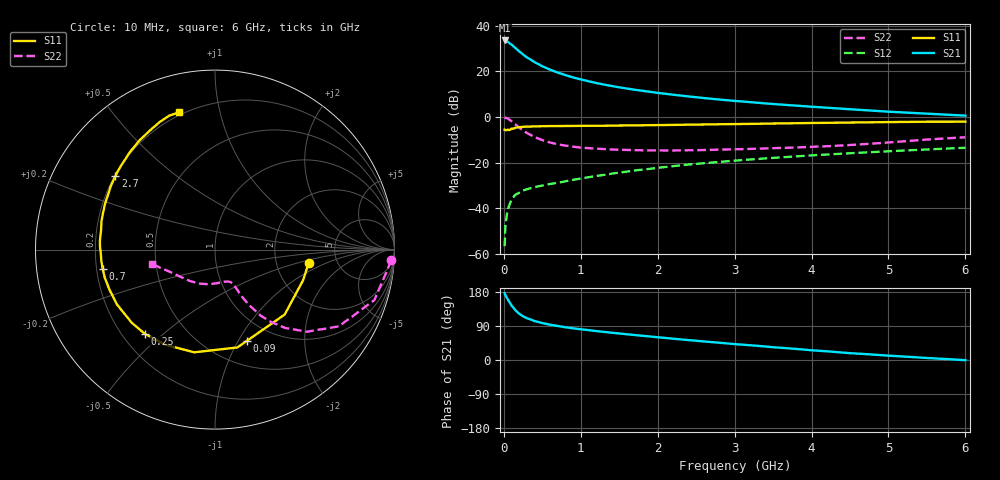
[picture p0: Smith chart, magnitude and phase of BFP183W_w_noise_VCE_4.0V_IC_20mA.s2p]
! Infineon Technologies  Discrete & RF Semiconductors
! BFP183W
! VCE =  4.0 V,  IC =  20 mA
! Common Emitter S-Parameters:  Jan 2017
# GHz  S  MA  R  50
!  f  S11  S21  S12  S22
! GHz  MAG  ANG  MAG  ANG  MAG  ANG  MAG  ANG
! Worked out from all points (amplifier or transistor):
!   77 points, 10 MHz to 6 GHz, reference 50 ohm
!   highest |S21| = 33.5 dB at 10 MHz (marker M1)
!   |S21| within 3 dB of that: start of sweep to 140.1 MHz
!   unconditionally stable (mu >= 1): 1.166 GHz to 3.666 GHz
!   at 130 MHz: K = 0.24, MSG = 32.8 dB, |S12| = -34.8 dB
!   at 2.2 GHz: K = 1.06, MAG = 14.1 dB, |S12| = -21.5 dB
!   at 6 GHz: K = 0.88, MSG = 7.0 dB, |S12| = -13.4 dB
!   lowest NFmin = 1.17 dB at 450 MHz
!   S11 on the Smith chart (normalised r, x): 10 MHz: 3.08, -0.63; 90 MHz: 0.76, -1.09; 250 MHz: 0.29, -0.44; 700 MHz: 0.22, -0.08; 2.7 GHz: 0.20, +0.32; 6 GHz: 0.19, +0.76
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0.01  0.5272 -8.1  47.18 176.5  0.0015 84.6  0.9827 -3.5
0.02  0.5197 -19.2  46.4 171.7  0.004 95.2  0.9652 -7.1
0.05  0.5307 -43.0  44.2 160.1  0.0092 73.7  0.9312 -17.6
0.09  0.5385 -70.8  39.25 147.2  0.0142 64.8  0.8312 -28.6
0.1  0.5592 -77.1  38.37 143.5  0.0155 63.5  0.8118 -31.8
0.15  0.5838 -101.4  32.34 131.3  0.0201 53.4  0.6878 -41.7
0.2  0.5981 -117.6  27.22 122.1  0.0221 50.4  0.587 -48.1
0.25  0.6107 -129.8  23.29 115.2  0.0247 46.4  0.5075 -52.4
0.3  0.6176 -138.7  20.12 110.2  0.0264 43.6  0.4472 -55.3
0.4  0.626 -150.9  15.8 102.6  0.0293 45.4  0.3634 -58.4
0.5  0.629 -159.2  12.87 97.4  0.0317 45.9  0.312 -59.9
0.6  0.6336 -165.5  10.88 93.2  0.0343 48.0  0.2771 -60.8
0.7  0.635 -170.3  9.371 89.7  0.0364 49.2  0.2531 -61.0
0.9  0.6368 -178.2  7.336 83.7  0.0423 51.9  0.2247 -62.1
1.1  0.643 175.8  6.049 78.8  0.0483 54.5  0.2087 -63.2
1.5  0.6518 166.2  4.457 70.0  0.0609 57.2  0.1921 -67.7
2.1  0.6683 153.7  3.219 58.2  0.0808 57.6  0.1857 -79.3
2.7  0.6899 143.5  2.504 47.3  0.1008 56.2  0.1916 -94.6
3.1  0.7038 137.2  2.182 40.5  0.1144 54.4  0.1986 -105.0
4.1  0.7431 123.2  1.638 24.3  0.1481 49.4  0.2261 -130.7
5.1  0.7776 112.4  1.282 10.3  0.1815 43.7  0.2855 -155.0
6  0.791 104.5  1.071 -0.5  0.2128 37.7  0.3609 -167.5
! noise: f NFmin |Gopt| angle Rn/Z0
0.45  1.17  0.2  171  0.1
0.9  1.2  0.25  174  0.09
1.9  1.68  0.41  -163  0.08
2.4  1.92  0.45  -157  0.12
